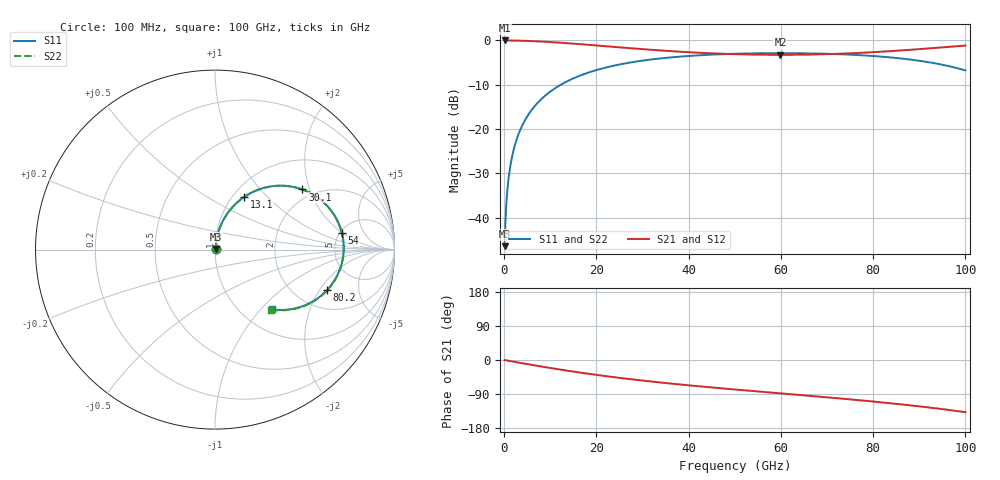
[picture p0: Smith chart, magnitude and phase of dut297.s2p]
! Touchstone file exported from HFSS 2026.1.0
!  File:  C:/ffzhzh/LocalFiles/Ansys_Project_Files/temp_train_RDL_297_1783502294_9504.aedt
!  Generated:  05:19:37 PM Jul  8, 2026
!  Design:  RDL
!  Project:  temp_train_RDL_297_1783502294_9504
! Variables:
!  h_bsmrdl = 2um
!  h_ox = 20um
!  h_rdl = 5um
!  h_sub = 80um
!  h_tmrdl = 3.87um
!  h_tsv = 80um
!  h_via = 3um
!  l_bsmrdl = 300um
!  l_sub = 884.62um
!  l_tmrdl = 484.62um
!  m_sub = 200um
!  pitch = 52.91um
!  r_tsv = 6um
!  s_tmrdl = 10um
!  w_bsmrdl = 18um
!  w_sub = 500um
!  w_tmrdl = 11.86um
!  x_tsv_center1 = 490.55um
!  x_tsv_center2 = 808.55um
!  x_tsv_center3 = 1305.03um
!  x_tsv_center4 = 1623.03um
!  x_tsv_center5 = 2119.51um
!  x_tsv_center6 = 2437.51um
# GHz S MA R 50.000000
! Terminal data exported
! Port[1] = TM_RDL1_1_T1
! Port[2] = TM_RDL1_1_T2
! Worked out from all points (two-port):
!   1000 points, 100 MHz to 100 GHz, reference 50 ohm
!   highest |S21| = -0.03 dB at 100 MHz (marker M1); lowest = -3.3 dB at 59.9 GHz (marker M2)
!   |S21| within 3 dB of the highest: start of sweep to 47.33 GHz; 72.5 GHz to end of sweep
!   lowest |S11| = -46.4 dB at 100 MHz (marker M3), VSWR 1.01, Z = 50.4 + j0.294 ohm
!   |S11| at or under -10 dB: start of sweep to 12.3 GHz
!   |S22| runs from -46.4 to -2.9 dB; largest |S21 - S12| = 1.5e-14
!   S11 on the Smith chart (normalised r, x): 100 MHz: 1.01, +0.01; 13.1 GHz: 1.13, +0.74; 30.1 GHz: 1.73, +1.79; 54 GHz: 5.21, +1.96; 80.2 GHz: 2.93, -2.35; 100 GHz: 1.36, -1.15
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0.1  0.004791 37.5  0.9962 -0.2  0.9962 -0.2  0.004791 37.5
! Gamma 0 0 0 0
! Port Impedance 50 0 50 0
0.8  0.02329 77.8  0.9955 -1.8  0.9955 -1.8  0.02329 77.8
1.3  0.03719 80.3  0.9949 -2.9  0.9949 -2.9  0.03719 80.3
2.1  0.05947 80.8  0.9935 -4.6  0.9935 -4.6  0.05947 80.8
3.3  0.09264 79.5  0.9905 -7.2  0.9905 -7.2  0.09264 79.5
5  0.1386 76.6  0.9842 -10.8  0.9842 -10.8  0.1386 76.6
7.1  0.1933 72.6  0.9737 -15.2  0.9737 -15.2  0.1933 72.6
9.8  0.2594 67.4  0.9569 -20.7  0.9569 -20.7  0.2594 67.3
13.1  0.3333 61.2  0.9326 -27.1  0.9326 -27.1  0.3333 61.2
16.8  0.4067 54.7  0.9024 -33.8  0.9024 -33.8  0.4067 54.6
23  0.5072 44.6  0.8499 -44.1  0.8499 -44.1  0.5072 44.6
30.1  0.5914 34.5  0.7944 -54.4  0.7944 -54.4  0.5914 34.4
33.4  0.6212 30.2  0.7718 -58.8  0.7718 -58.8  0.6212 30.1
41.6  0.6745 20.5  0.7268 -68.7  0.7268 -68.7  0.6745 20.4
50.1  0.7055 11.4  0.6978 -77.9  0.6978 -77.9  0.7056 11.3
54  0.7131 7.4  0.6904 -82.0  0.6904 -82.0  0.7131 7.3
59.9  0.7174 1.5  0.6862 -88.0  0.6862 -88.0  0.7174 1.4
66.7  0.7121 -5.3  0.6917 -95.0  0.6917 -95.0  0.7121 -5.5
80.2  0.6644 -19.8  0.7359 -109.8  0.7359 -109.8  0.6644 -20.0
83.4  0.6442 -23.5  0.7529 -113.7  0.7529 -113.7  0.6442 -23.8
92.5  0.5613 -35.4  0.8136 -125.9  0.8136 -125.9  0.5613 -35.7
100  0.4579 -46.5  0.8728 -137.7  0.8728 -137.7  0.4579 -46.9
